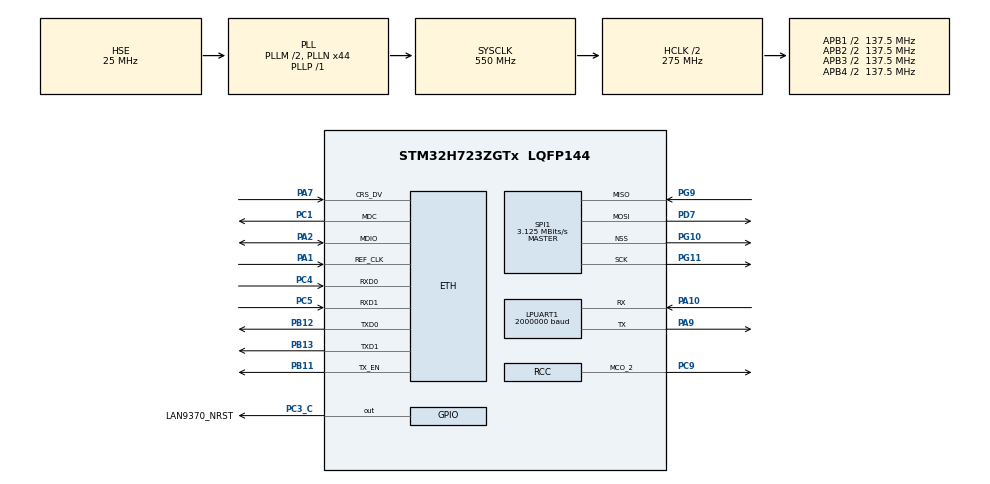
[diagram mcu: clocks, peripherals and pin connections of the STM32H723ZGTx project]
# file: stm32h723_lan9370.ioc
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Bdma.LPUART1_RX.0.Direction=DMA_PERIPH_TO_MEMORY
Bdma.LPUART1_RX.0.EventEnable=DISABLE
Bdma.LPUART1_RX.0.Instance=BDMA_Channel0
Bdma.LPUART1_RX.0.MemDataAlignment=DMA_MDATAALIGN_BYTE
Bdma.LPUART1_RX.0.MemInc=DMA_MINC_ENABLE
Bdma.LPUART1_RX.0.Mode=DMA_NORMAL
Bdma.LPUART1_RX.0.PeriphDataAlignment=DMA_PDATAALIGN_BYTE
Bdma.LPUART1_RX.0.PeriphInc=DMA_PINC_DISABLE
Bdma.LPUART1_RX.0.Polarity=HAL_DMAMUX_REQ_GEN_RISING
Bdma.LPUART1_RX.0.Priority=DMA_PRIORITY_LOW
Bdma.LPUART1_RX.0.RequestNumber=1
Bdma.LPUART1_RX.0.SignalID=NONE
Bdma.LPUART1_RX.0.SyncEnable=DISABLE
Bdma.LPUART1_RX.0.SyncPolarity=HAL_DMAMUX_SYNC_NO_EVENT
Bdma.LPUART1_RX.0.SyncRequestNumber=1
Bdma.LPUART1_RX.0.SyncSignalID=NONE
Bdma.LPUART1_TX.1.Direction=DMA_MEMORY_TO_PERIPH
Bdma.LPUART1_TX.1.EventEnable=DISABLE
Bdma.LPUART1_TX.1.Instance=BDMA_Channel1
Bdma.LPUART1_TX.1.MemDataAlignment=DMA_MDATAALIGN_BYTE
Bdma.LPUART1_TX.1.MemInc=DMA_MINC_ENABLE
Bdma.LPUART1_TX.1.Mode=DMA_NORMAL
Bdma.LPUART1_TX.1.PeriphDataAlignment=DMA_PDATAALIGN_BYTE
Bdma.LPUART1_TX.1.PeriphInc=DMA_PINC_DISABLE
Bdma.LPUART1_TX.1.Polarity=HAL_DMAMUX_REQ_GEN_RISING
Bdma.LPUART1_TX.1.Priority=DMA_PRIORITY_LOW
Bdma.LPUART1_TX.1.RequestNumber=1
Bdma.LPUART1_TX.1.SignalID=NONE
Bdma.LPUART1_TX.1.SyncEnable=DISABLE
Bdma.LPUART1_TX.1.SyncPolarity=HAL_DMAMUX_SYNC_NO_EVENT
Bdma.LPUART1_TX.1.SyncRequestNumber=1
Bdma.LPUART1_TX.1.SyncSignalID=NONE
Bdma.Request0=LPUART1_RX
Bdma.Request1=LPUART1_TX
Bdma.RequestsNb=2
CORTEX_M7.CPU_DCache=Enabled
CORTEX_M7.CPU_ICache=Enabled
CORTEX_M7.default_mode_Activation=1
Dma.Request0=SPI1_RX
Dma.Request1=SPI1_TX
Dma.SPI1_RX.0.Direction=DMA_PERIPH_TO_MEMORY
Dma.SPI1_RX.0.EventEnable=DISABLE
Dma.SPI1_RX.0.FIFOMode=DMA_FIFOMODE_DISABLE
Dma.SPI1_RX.0.Instance=DMA1_Stream0
Dma.SPI1_RX.0.MemDataAlignment=DMA_MDATAALIGN_BYTE
Dma.SPI1_RX.0.MemInc=DMA_MINC_ENABLE
Dma.SPI1_RX.0.Mode=DMA_NORMAL
Dma.SPI1_RX.0.PeriphDataAlignment=DMA_PDATAALIGN_BYTE
Dma.SPI1_RX.0.PeriphInc=DMA_PINC_DISABLE
Dma.SPI1_RX.0.Polarity=HAL_DMAMUX_REQ_GEN_RISING
Dma.SPI1_RX.0.Priority=DMA_PRIORITY_LOW
Dma.SPI1_RX.0.RequestNumber=1
Dma.SPI1_RX.0.SignalID=NONE
Dma.SPI1_RX.0.SyncEnable=DISABLE
Dma.SPI1_RX.0.SyncPolarity=HAL_DMAMUX_SYNC_NO_EVENT
Dma.SPI1_RX.0.SyncRequestNumber=1
Dma.SPI1_RX.0.SyncSignalID=NONE
Dma.SPI1_TX.1.Direction=DMA_MEMORY_TO_PERIPH
Dma.SPI1_TX.1.EventEnable=DISABLE
Dma.SPI1_TX.1.FIFOMode=DMA_FIFOMODE_DISABLE
Dma.SPI1_TX.1.Instance=DMA1_Stream1
Dma.SPI1_TX.1.MemDataAlignment=DMA_MDATAALIGN_BYTE
Dma.SPI1_TX.1.MemInc=DMA_MINC_ENABLE
Dma.SPI1_TX.1.Mode=DMA_NORMAL
Dma.SPI1_TX.1.PeriphDataAlignment=DMA_PDATAALIGN_BYTE
Dma.SPI1_TX.1.PeriphInc=DMA_PINC_DISABLE
Dma.SPI1_TX.1.Polarity=HAL_DMAMUX_REQ_GEN_RISING
Dma.SPI1_TX.1.Priority=DMA_PRIORITY_LOW
Dma.SPI1_TX.1.RequestNumber=1
Dma.SPI1_TX.1.SignalID=NONE
Dma.SPI1_TX.1.SyncEnable=DISABLE
Dma.SPI1_TX.1.SyncPolarity=HAL_DMAMUX_SYNC_NO_EVENT
Dma.SPI1_TX.1.SyncRequestNumber=1
Dma.SPI1_TX.1.SyncSignalID=NONE
ETH.MediaInterface=HAL_ETH_RMII_MODE
LPUART1.BaudRate=2000000
LPUART1.DMADisableonRxErrorParam=UART_ADVFEATURE_DMA_DISABLEONRXERROR
LPUART1.OverrunDisableParam=UART_ADVFEATURE_OVERRUN_DISABLE
LWIP.BSP.number=1
LWIP.GATEWAY_ADDRESS=192.168.000.001
LWIP.IP_ADDRESS=192.168.000.108
LWIP.LWIP_DHCP=0
LWIP.NETMASK_ADDRESS=255.255.255.000
LWIP.Version=v2.2.1_Cube
LWIP0.BSP.STBoard=false
LWIP0.BSP.api=BSP_COMPONENT_DRIVER
LWIP0.BSP.component=USER_PHY
LWIP0.BSP.instance=USER_PHY
LWIP0.BSP.name=Driver_PHY
LWIP0.BSP.semaphore=S_USER_PHY
LWIP0.BSP.solution=USER_PHY
Mcu.Family=STM32H7
Mcu.Name=STM32H723ZGTx
Mcu.Package=LQFP144
NVIC.BDMA_Channel0_IRQn=true\:0\:0\:false\:false\:true\:false\:true\:true
NVIC.BDMA_Channel1_IRQn=true\:0\:0\:false\:false\:true\:false\:true\:true
NVIC.DMA1_Stream0_IRQn=true\:0\:0\:false\:false\:true\:false\:true\:true
NVIC.DMA1_Stream1_IRQn=true\:0\:0\:false\:false\:true\:false\:true\:true
NVIC.ETH_IRQn=true\:0\:0\:false\:false\:true\:true\:true\:true
NVIC.LPUART1_IRQn=true\:0\:0\:false\:false\:true\:true\:true\:true
NVIC.PriorityGroup=NVIC_PRIORITYGROUP_4
NVIC.SPI1_IRQn=true\:0\:0\:false\:false\:true\:false\:true\:true
PA1.GPIO_Speed_Default_HIGH=GPIO_SPEED_FREQ_VERY_HIGH
PA1.Mode=RMII
PA1.Signal=ETH_REF_CLK
PA10.Mode=Asynchronous
PA10.Signal=LPUART1_RX
PA13(JTMS/SWDIO).Mode=Serial_Wire
PA13(JTMS/SWDIO).Signal=DEBUG_JTMS-SWDIO
PA14(JTCK/SWCLK).Mode=Serial_Wire
PA14(JTCK/SWCLK).Signal=DEBUG_JTCK-SWCLK
PA2.Mode=RMII
PA2.Signal=ETH_MDIO
PA7.Mode=RMII
PA7.Signal=ETH_CRS_DV
PA9.Mode=Asynchronous
PA9.Signal=LPUART1_TX
PB11.Mode=RMII
PB11.Signal=ETH_TX_EN
PB12.Mode=RMII
PB12.Signal=ETH_TXD0
PB13.Mode=RMII
PB13.Signal=ETH_TXD1
PC1.Mode=RMII
PC1.Signal=ETH_MDC
PC3_C.GPIO_Label=LAN9370_NRST
PC3_C.Signal=GPIO_Output
PC4.Mode=RMII
PC4.Signal=ETH_RXD0
PC5.Mode=RMII
PC5.Signal=ETH_RXD1
PC9.Mode=Clock-out-2
PC9.Signal=RCC_MCO_2
PD7.Mode=Full_Duplex_Master
PD7.Signal=SPI1_MOSI
PG10.Mode=NSS_Signal_Hard_Output
PG10.Signal=SPI1_NSS
PG11.Mode=Full_Duplex_Master
PG11.Signal=SPI1_SCK
PG9.Mode=Full_Duplex_Master
PG9.Signal=SPI1_MISO
PH0-OSC_IN.Mode=HSE-External-Oscillator
PH0-OSC_IN.Signal=RCC_OSC_IN
PH1-OSC_OUT.Mode=HSE-External-Oscillator
PH1-OSC_OUT.Signal=RCC_OSC_OUT
ProjectManager.HeapSize=0x800
ProjectManager.StackSize=0x1000
ProjectManager.TargetToolchain=CMake
RCC.ADCFreq_Value=50000000
RCC.APB1Freq_Value=137500000
RCC.APB2Freq_Value=137500000
RCC.APB3Freq_Value=137500000
RCC.APB4Freq_Value=137500000
RCC.CortexFreq_Value=550000000
RCC.D1PPRE=RCC_APB3_DIV2
RCC.D2PPRE1=RCC_APB1_DIV2
RCC.D2PPRE2=RCC_APB2_DIV2
RCC.D3PPRE=RCC_APB4_DIV2
RCC.DIVM1=2
RCC.DIVM2=5
RCC.DIVN1=44
RCC.DIVN2=40
RCC.DIVP1=1
RCC.DIVP2=4
RCC.HCLKFreq_Value=275000000
RCC.HPRE=RCC_HCLK_DIV2
RCC.PLL2FRACN=0
RCC.PLLFRACN=0
RCC.PLLSourceVirtual=RCC_PLLSOURCE_HSE
RCC.RCC_MCO2Source=RCC_MCO2SOURCE_PLL2PCLK
RCC.SPI123CLockSelection=RCC_SPI123CLKSOURCE_PLL2
RCC.SYSCLKFreq_VALUE=550000000
RCC.SYSCLKSource=RCC_SYSCLKSOURCE_PLLCLK
RCC.USBFreq_Value=275000000
SPI1.BaudRatePrescaler=SPI_BAUDRATEPRESCALER_16
SPI1.CalculateBaudRate=3.125 MBits/s
SPI1.DataSize=SPI_DATASIZE_8BIT
SPI1.Direction=SPI_DIRECTION_2LINES
SPI1.Mode=SPI_MODE_MASTER
SPI1.VirtualNSS=VM_NSSHARD
SPI1.VirtualType=VM_MASTER
VP_LWIP_VS_Enabled.Mode=Enabled
VP_MEMORYMAP_VS_MEMORYMAP.Mode=CurAppReg
board=custom

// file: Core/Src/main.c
/* USER CODE BEGIN Header */
/**
  ******************************************************************************
  * @file           : main.c
  * @brief          : Main program body
  ******************************************************************************
  * @attention
  *
  * Copyright (c) 2026 STMicroelectronics.
  * All rights reserved.
  *
  * This software is licensed under terms that can be found in the LICENSE file
  * in the root directory of this software component.
  * If no LICENSE file comes with this software, it is provided AS-IS.
  *
  ******************************************************************************
  */
/* USER CODE END Header */
#include "main.h"
#include "lwip.h"

/* USER CODE BEGIN Includes */
#include "lan9370_driver.h"
#include "lwip/apps/lwiperf.h"
#include "lwip/ip4_addr.h"
#include "lwip/ip_addr.h"
#include "lwip/udp.h"
#include "lwip/etharp.h"
#include "shell_port.h"
#include <stdarg.h>
#include <stdio.h>
/* USER CODE END Includes */

/* USER CODE BEGIN PD */
#define APP_UDP_ECHO_PORT   7U
#define APP_IPERF_PORT      5001U
/* USER CODE END PD */

UART_HandleTypeDef hlpuart1;
DMA_HandleTypeDef hdma_lpuart1_rx;
DMA_HandleTypeDef hdma_lpuart1_tx;

SPI_HandleTypeDef hspi1;
DMA_HandleTypeDef hdma_spi1_rx;
DMA_HandleTypeDef hdma_spi1_tx;

/* USER CODE BEGIN PV */
static struct udp_pcb *udp_echo_pcb;
static void *lwiperf_session;
extern struct netif gnetif;
extern ETH_DMADescTypeDef DMATxDscrTab[];
extern ETH_DMADescTypeDef DMARxDscrTab[];
extern ETH_HandleTypeDef heth;
/* USER CODE END PV */

void SystemClock_Config(void);
void PeriphCommonClock_Config(void);
static void MPU_Config(void);
static void MX_GPIO_Init(void);
static void MX_BDMA_Init(void);
static void MX_DMA_Init(void);
static void MX_LPUART1_UART_Init(void);
static void MX_SPI1_Init(void);
/* USER CODE BEGIN PFP */
// static void CPU_CACHE_Enable(void);
int debug_printf(const char *format, ...);
static void App_NetworkServicesInit(void);
static void App_PrintNetworkBanner(void);
static void App_UdpEchoInit(void);
static void App_UdpEchoRecv(void *arg, struct udp_pcb *pcb, struct pbuf *p,
                            const ip_addr_t *addr, u16_t port);
static void App_LwiperfReport(void *arg, enum lwiperf_report_type report_type,
                              const ip_addr_t *local_addr, u16_t local_port,
                              const ip_addr_t *remote_addr, u16_t remote_port,
                              u32_t bytes_transferred, u32_t ms_duration,
                              u32_t bandwidth_kbitpsec);
static void App_LwiperfInit(void);
/* USER CODE END PFP */

int main(void)
{

  /* USER CODE BEGIN 1 */
  /* Save reset cause before HAL_Init potentially modifies RCC flags */
  volatile uint32_t g_rcc_rsr = RCC->RSR;
  /* USER CODE END 1 */

  /* MPU Configuration--------------------------------------------------------*/
  MPU_Config();

  /* Enable the CPU Cache */

  /* Enable I-Cache---------------------------------------------------------*/
  SCB_EnableICache();

  /* Enable D-Cache---------------------------------------------------------*/
  SCB_EnableDCache();

  /* MCU Configuration--------------------------------------------------------*/

  /* Reset of all peripherals, Initializes the Flash interface and the Systick. */
  HAL_Init();

  /* Configure the system clock */
  SystemClock_Config();

  /* Configure the peripherals common clocks */
  PeriphCommonClock_Config();

  /* Initialize all configured peripherals */
  MX_GPIO_Init();
  MX_BDMA_Init();
  MX_DMA_Init();
  MX_LPUART1_UART_Init();
  /* MX_LWIP_Init() is called after LAN9370 is configured in USER CODE 2 */
  MX_SPI1_Init();
  /* USER CODE BEGIN 2 */
  /* Print reset cause from saved RCC->RSR */
  debug_printf("\r\nstm32h723_lan9370 boot\r\n");
  {
    if (g_rcc_rsr & RCC_RSR_BORRSTF)   debug_printf("[RST] BOR\r\n");
    if (g_rcc_rsr & RCC_RSR_PINRSTF)   debug_printf("[RST] PIN\r\n");
    if (g_rcc_rsr & RCC_RSR_PORRSTF)   debug_printf("[RST] POR\r\n");
    if (g_rcc_rsr & RCC_RSR_SFTRSTF)   debug_printf("[RST] Software\r\n");
    if (g_rcc_rsr & RCC_RSR_IWDG1RSTF) debug_printf("[RST] IWDG\r\n");
    if (g_rcc_rsr & RCC_RSR_WWDG1RSTF) debug_printf("[RST] WWDG\r\n");
    if (g_rcc_rsr & RCC_RSR_LPWRRSTF)  debug_printf("[RST] LPower\r\n");
    __HAL_RCC_CLEAR_RESET_FLAGS();
  }

  /* Initialize LAN9370 via SPI before lwIP starts */
  debug_printf("[MAIN] LAN9370 init...\r\n");
  if (LAN9370_Init(&hspi1) != LAN9370_OK)
  {
    debug_printf("[MAIN] LAN9370 init FAILED\r\n");
    Error_Handler();
  }

  LAN9370_ChipInfo_t chipInfo;
  if (LAN9370_GetChipInfo(&chipInfo) == LAN9370_OK)
  {
    debug_printf("[MAIN] Chip: %s ID=0x%08lX Rev=%d\r\n",
                 chipInfo.chipName, (unsigned long)chipInfo.chipId, (int)chipInfo.revisionId);
  }
  /* Debug: read individual ID bytes */
  {
    uint8_t b0=0, b1=0, b2=0, b3=0;
    LAN9370_SPI_ReadReg8(0x0000, &b0);
    LAN9370_SPI_ReadReg8(0x0001, &b1);
    LAN9370_SPI_ReadReg8(0x0002, &b2);
    LAN9370_SPI_ReadReg8(0x0003, &b3);
    debug_printf("[SPI] ID bytes: %02X %02X %02X %02X (expect 00 93 70 0x)\r\n", b0, b1, b2, b3);
  }

  /* Port 2 = Master (connects to automotive slave device 192.168.0.68) */
  /* Port 4 = Slave  (connects to PC via automotive converter)          */
  LAN9370_SetT1MasterSlave(LAN9370_PORT_1, LAN9370_T1_SLAVE);
  if (LAN9370_SetT1MasterSlave(LAN9370_PORT_2, LAN9370_T1_MASTER) != LAN9370_OK) {
    debug_printf("[MAIN] Port2 set master FAILED\r\n");
  }
  LAN9370_SetT1MasterSlave(LAN9370_PORT_3, LAN9370_T1_SLAVE);
  LAN9370_SetT1MasterSlave(LAN9370_PORT_4, LAN9370_T1_SLAVE);

  /* Enable all ports */
  for (int p = 1; p <= LAN9370_PORT_COUNT; p++)
  {
    LAN9370_SetPortEnable((LAN9370_Port_t)p, true);
  }

  /* Configure Port 5 as RMII for STM32H723 ETH MAC */
  LAN9370_ConfigurePort5Rmii();
  /* Re-enable Port 5 after RMII config (register layout change may reset MSTP) */
  LAN9370_SetPortEnable(LAN9370_PORT_5, true);

  /* All ports forward to all (flat switching, no VLAN isolation) */
  for (int p = 1; p <= LAN9370_PORT_COUNT; p++)
  {
    LAN9370_SetPortMembership((LAN9370_Port_t)p, 0x1FU);
  }
  LAN9370_SetMACLearning(true);

  /* Allow PHY master/slave config to settle before reading status */
  HAL_Delay(50);

  /* Initialize lwIP / ETH MAC (LAN9370 must be configured before ETH starts) */
  /* Pre-select RMII mode and enable ETH clocks early, then wait for
   * RMII REF_CLK (PA1 from MCO2/PC9) to fully stabilize.
   * The H7 HAL's SYSCFG_ETHInterfaceSelect only sets EPIS_SEL but does NOT
   * close the PA1 analog switch. Without explicitly clearing PA1SO, the
   * internal REF_CLK path from PA1 pin to the ETH MAC is disconnected even
   * though the pin mux selects AF11_ETH. */
  __HAL_RCC_SYSCFG_CLK_ENABLE();
  HAL_SYSCFG_ETHInterfaceSelect(SYSCFG_ETH_RMII);
  CLEAR_BIT(SYSCFG->PMCR, SYSCFG_PMCR_PA1SO);   /* close PA1 switch → REF_CLK reaches ETH */
  __HAL_RCC_ETH1MAC_CLK_ENABLE();
  __HAL_RCC_ETH1TX_CLK_ENABLE();
  __HAL_RCC_ETH1RX_CLK_ENABLE();
  HAL_Delay(200);

  /* LAN9370 Port5 RMII configured (verify in ConfigurePort5Rmii itself) */

  /* Initialize lwIP / ETH MAC (LAN9370 must be configured before ETH starts) */
  MX_LWIP_Init();
  debug_printf("[MAIN] lwIP init done\r\n");

  /* Re-verify Port2 master mode after lwIP/ETH init */
  {
    uint16_t ms_ctrl = 0;
    LAN9370_PHY_ReadReg(LAN9370_PORT_2, 0x09, &ms_ctrl);
    debug_printf("[MAIN] Port2 MS_CTRL(0x09)=0x%04X (expect 0x1800=master)\r\n", ms_ctrl);
    /* Re-apply if lost */
    if ((ms_ctrl & 0x1800U) != 0x1800U) {
      debug_printf("[MAIN] Port2 master config lost, re-applying...\r\n");
      LAN9370_SetT1MasterSlave(LAN9370_PORT_2, LAN9370_T1_MASTER);
    }
  }

  App_NetworkServicesInit();
  App_PrintNetworkBanner();

  /* Initialize shell */
  Shell_Init(&hlpuart1);
  Shell_PrintBanner();

  /* Send gratuitous ARP to announce our MAC/IP to the network */
  HAL_Delay(200);
  etharp_gratuitous(&gnetif);

  /* Configure ETH MAC filter to accept broadcast + unicast packets.
   * Default after HAL_ETH_Init is MACPFR=0 (all packets rejected). */
  {
    ETH_MACFilterConfigTypeDef filterConfig;
    HAL_ETH_GetMACFilterConfig(&heth, &filterConfig);
    filterConfig.PromiscuousMode = ENABLE;
    filterConfig.ReceiveAllMode = ENABLE;
    filterConfig.PassAllMulticast = ENABLE;
    filterConfig.BroadcastFilter = DISABLE;
    HAL_ETH_SetMACFilterConfig(&heth, &filterConfig);
  }

  /* Clear any sticky DMA error bits from init */
  ETH->DMACSR = ETH_DMACSR_FBE | ETH_DMACSR_TPS | ETH_DMACSR_RPS;

  /* --- Quick diag verification: read T1 PHY regs on Port2 --- */
  {
    uint16_t sqi=0, mse=0, ms_stat=0;
    LAN9370_PHY_ReadReg(LAN9370_PORT_2, T1_PHY_SQI, &sqi);
    LAN9370_PHY_ReadReg(LAN9370_PORT_2, T1_PHY_MSE, &mse);
    LAN9370_PHY_ReadReg(LAN9370_PORT_2, T1_PHY_MASTER_SLAVE_STATUS, &ms_stat);
    debug_printf("[DIAG] Port2 SQI=0x%04X MSE=0x%04X MS_STAT=0x%04X\r\n", sqi, mse, ms_stat);
    uint16_t temp_raw=0;
    LAN9370_SPI_ReadReg16(REG_TEMP_MON, &temp_raw);
    debug_printf("[DIAG] TEMP_MON(0x%04X)=0x%04X\r\n", REG_TEMP_MON, temp_raw);
  }
  /* USER CODE END 2 */

  /* Infinite loop */
  while (1)
  {

    /* USER CODE BEGIN 3 */
    Shell_Process();
    MX_LWIP_Process();
  }
  /* USER CODE END 3 */
}

void SystemClock_Config(void)
{
  RCC_OscInitTypeDef RCC_OscInitStruct = {0};
  RCC_ClkInitTypeDef RCC_ClkInitStruct = {0};

  /** Supply configuration update enable
  */
  HAL_PWREx_ConfigSupply(PWR_LDO_SUPPLY);

  /** Configure the main internal regulator output voltage
  */
  __HAL_PWR_VOLTAGESCALING_CONFIG(PWR_REGULATOR_VOLTAGE_SCALE0);

  while(!__HAL_PWR_GET_FLAG(PWR_FLAG_VOSRDY)) {}

  /* Enable D2 SRAM1 clock — ETH DMA descriptors and RX pool at 0x30000000 */
  __HAL_RCC_D2SRAM1_CLK_ENABLE();

  /** Initializes the RCC Oscillators according to the specified parameters
  * in the RCC_OscInitTypeDef structure.
  */
  RCC_OscInitStruct.OscillatorType = RCC_OSCILLATORTYPE_HSE;
  RCC_OscInitStruct.HSEState = RCC_HSE_ON;
  RCC_OscInitStruct.PLL.PLLState = RCC_PLL_ON;
  RCC_OscInitStruct.PLL.PLLSource = RCC_PLLSOURCE_HSE;
  RCC_OscInitStruct.PLL.PLLM = 2;
  RCC_OscInitStruct.PLL.PLLN = 44;
  RCC_OscInitStruct.PLL.PLLP = 1;
  RCC_OscInitStruct.PLL.PLLQ = 2;
  RCC_OscInitStruct.PLL.PLLR = 2;
  RCC_OscInitStruct.PLL.PLLRGE = RCC_PLL1VCIRANGE_3;
  RCC_OscInitStruct.PLL.PLLVCOSEL = RCC_PLL1VCOWIDE;
  RCC_OscInitStruct.PLL.PLLFRACN = 0;
  if (HAL_RCC_OscConfig(&RCC_OscInitStruct) != HAL_OK)
  {
    Error_Handler();
  }

  /** Initializes the CPU, AHB and APB buses clocks
  */
  RCC_ClkInitStruct.ClockType = RCC_CLOCKTYPE_HCLK|RCC_CLOCKTYPE_SYSCLK
                              |RCC_CLOCKTYPE_PCLK1|RCC_CLOCKTYPE_PCLK2
                              |RCC_CLOCKTYPE_D3PCLK1|RCC_CLOCKTYPE_D1PCLK1;
  RCC_ClkInitStruct.SYSCLKSource = RCC_SYSCLKSOURCE_PLLCLK;
  RCC_ClkInitStruct.SYSCLKDivider = RCC_SYSCLK_DIV1;
  RCC_ClkInitStruct.AHBCLKDivider = RCC_HCLK_DIV2;
  RCC_ClkInitStruct.APB3CLKDivider = RCC_APB3_DIV2;
  RCC_ClkInitStruct.APB1CLKDivider = RCC_APB1_DIV2;
  RCC_ClkInitStruct.APB2CLKDivider = RCC_APB2_DIV2;
  RCC_ClkInitStruct.APB4CLKDivider = RCC_APB4_DIV2;

  if (HAL_RCC_ClockConfig(&RCC_ClkInitStruct, FLASH_LATENCY_3) != HAL_OK)
  {
    Error_Handler();
  }
  __HAL_RCC_PLL2CLKOUT_ENABLE(RCC_PLL2_DIVP);
  HAL_RCC_MCOConfig(RCC_MCO2, RCC_MCO2SOURCE_PLL2PCLK, RCC_MCODIV_1);
}

void PeriphCommonClock_Config(void)
{
  RCC_PeriphCLKInitTypeDef PeriphClkInitStruct = {0};

  /** Initializes the peripherals clock
  */
  PeriphClkInitStruct.PeriphClockSelection = RCC_PERIPHCLK_SPI1;
  PeriphClkInitStruct.PLL2.PLL2M = 5;
  PeriphClkInitStruct.PLL2.PLL2N = 40;
  PeriphClkInitStruct.PLL2.PLL2P = 4;
  PeriphClkInitStruct.PLL2.PLL2Q = 2;
  PeriphClkInitStruct.PLL2.PLL2R = 2;
  PeriphClkInitStruct.PLL2.PLL2RGE = RCC_PLL2VCIRANGE_3;
  PeriphClkInitStruct.PLL2.PLL2VCOSEL = RCC_PLL2VCOWIDE;
  PeriphClkInitStruct.PLL2.PLL2FRACN = 0;
  PeriphClkInitStruct.Spi123ClockSelection = RCC_SPI123CLKSOURCE_PLL2;
  if (HAL_RCCEx_PeriphCLKConfig(&PeriphClkInitStruct) != HAL_OK)
  {
    Error_Handler();
  }
}

static void MX_LPUART1_UART_Init(void)
{

  hlpuart1.Instance = LPUART1;
  hlpuart1.Init.BaudRate = 2000000;
  hlpuart1.Init.WordLength = UART_WORDLENGTH_8B;
  hlpuart1.Init.StopBits = UART_STOPBITS_1;
  hlpuart1.Init.Parity = UART_PARITY_NONE;
  hlpuart1.Init.Mode = UART_MODE_TX_RX;
  hlpuart1.Init.HwFlowCtl = UART_HWCONTROL_NONE;
  hlpuart1.Init.OneBitSampling = UART_ONE_BIT_SAMPLE_DISABLE;
  hlpuart1.Init.ClockPrescaler = UART_PRESCALER_DIV1;
  hlpuart1.AdvancedInit.AdvFeatureInit = UART_ADVFEATURE_RXOVERRUNDISABLE_INIT|UART_ADVFEATURE_DMADISABLEONERROR_INIT;
  hlpuart1.AdvancedInit.OverrunDisable = UART_ADVFEATURE_OVERRUN_DISABLE;
  hlpuart1.AdvancedInit.DMADisableonRxError = UART_ADVFEATURE_DMA_DISABLEONRXERROR;
  hlpuart1.FifoMode = UART_FIFOMODE_DISABLE;
  if (HAL_UART_Init(&hlpuart1) != HAL_OK)
  {
    Error_Handler();
  }
  if (HAL_UARTEx_SetTxFifoThreshold(&hlpuart1, UART_TXFIFO_THRESHOLD_1_8) != HAL_OK)
  {
    Error_Handler();
  }
  if (HAL_UARTEx_SetRxFifoThreshold(&hlpuart1, UART_RXFIFO_THRESHOLD_1_8) != HAL_OK)
  {
    Error_Handler();
  }
  if (HAL_UARTEx_DisableFifoMode(&hlpuart1) != HAL_OK)
  {
    Error_Handler();
  }

}

static void MX_SPI1_Init(void)
{

  /* SPI1 parameter configuration*/
  hspi1.Instance = SPI1;
  hspi1.Init.Mode = SPI_MODE_MASTER;
  hspi1.Init.Direction = SPI_DIRECTION_2LINES;
  hspi1.Init.DataSize = SPI_DATASIZE_8BIT;
  hspi1.Init.CLKPolarity = SPI_POLARITY_HIGH;
  hspi1.Init.CLKPhase = SPI_PHASE_2EDGE;
  hspi1.Init.NSS = SPI_NSS_SOFT;
  hspi1.Init.BaudRatePrescaler = SPI_BAUDRATEPRESCALER_2;
  hspi1.Init.FirstBit = SPI_FIRSTBIT_MSB;
  hspi1.Init.TIMode = SPI_TIMODE_DISABLE;
  hspi1.Init.CRCCalculation = SPI_CRCCALCULATION_DISABLE;
  hspi1.Init.CRCPolynomial = 0x0;
  hspi1.Init.NSSPMode = SPI_NSS_PULSE_DISABLE;
  hspi1.Init.NSSPolarity = SPI_NSS_POLARITY_LOW;
  hspi1.Init.FifoThreshold = SPI_FIFO_THRESHOLD_01DATA;
  hspi1.Init.TxCRCInitializationPattern = SPI_CRC_INITIALIZATION_ALL_ZERO_PATTERN;
  hspi1.Init.RxCRCInitializationPattern = SPI_CRC_INITIALIZATION_ALL_ZERO_PATTERN;
  hspi1.Init.MasterSSIdleness = SPI_MASTER_SS_IDLENESS_00CYCLE;
  hspi1.Init.MasterInterDataIdleness = SPI_MASTER_INTERDATA_IDLENESS_00CYCLE;
  hspi1.Init.MasterReceiverAutoSusp = SPI_MASTER_RX_AUTOSUSP_DISABLE;
  hspi1.Init.MasterKeepIOState = SPI_MASTER_KEEP_IO_STATE_DISABLE;
  hspi1.Init.IOSwap = SPI_IO_SWAP_DISABLE;
  if (HAL_SPI_Init(&hspi1) != HAL_OK)
  {
    Error_Handler();
  }

}

static void MX_BDMA_Init(void)
{

  /* DMA controller clock enable */
  __HAL_RCC_BDMA_CLK_ENABLE();

  /* DMA interrupt init */
  /* BDMA_Channel0_IRQn interrupt configuration */
  HAL_NVIC_SetPriority(BDMA_Channel0_IRQn, 0, 0);
  HAL_NVIC_EnableIRQ(BDMA_Channel0_IRQn);
  /* BDMA_Channel1_IRQn interrupt configuration */
  HAL_NVIC_SetPriority(BDMA_Channel1_IRQn, 0, 0);
  HAL_NVIC_EnableIRQ(BDMA_Channel1_IRQn);

}

static void MX_DMA_Init(void)
{

  /* DMA controller clock enable */
  __HAL_RCC_DMA1_CLK_ENABLE();

  /* DMA interrupt init */
  /* DMA1_Stream0_IRQn interrupt configuration */
  HAL_NVIC_SetPriority(DMA1_Stream0_IRQn, 0, 0);
  HAL_NVIC_EnableIRQ(DMA1_Stream0_IRQn);
  /* DMA1_Stream1_IRQn interrupt configuration */
  HAL_NVIC_SetPriority(DMA1_Stream1_IRQn, 0, 0);
  HAL_NVIC_EnableIRQ(DMA1_Stream1_IRQn);

}

static void MX_GPIO_Init(void)
{
  GPIO_InitTypeDef GPIO_InitStruct = {0};

  /* GPIO Ports Clock Enable */
  __HAL_RCC_GPIOH_CLK_ENABLE();
  __HAL_RCC_GPIOC_CLK_ENABLE();
  __HAL_RCC_GPIOA_CLK_ENABLE();
  __HAL_RCC_GPIOB_CLK_ENABLE();
  __HAL_RCC_GPIOD_CLK_ENABLE();
  __HAL_RCC_GPIOG_CLK_ENABLE();

  /*Configure GPIO pin Output Level */
  HAL_GPIO_WritePin(LAN9370_NRST_GPIO_Port, LAN9370_NRST_Pin, GPIO_PIN_SET);

  /*Configure GPIO pin : LAN9370_NRST_Pin */
  GPIO_InitStruct.Pin = LAN9370_NRST_Pin;
  GPIO_InitStruct.Mode = GPIO_MODE_OUTPUT_PP;
  GPIO_InitStruct.Pull = GPIO_NOPULL;
  GPIO_InitStruct.Speed = GPIO_SPEED_FREQ_LOW;
  HAL_GPIO_Init(LAN9370_NRST_GPIO_Port, &GPIO_InitStruct);

  /*Configure GPIO pin : PC9 */
  GPIO_InitStruct.Pin = GPIO_PIN_9;
  GPIO_InitStruct.Mode = GPIO_MODE_AF_PP;
  GPIO_InitStruct.Pull = GPIO_NOPULL;
  GPIO_InitStruct.Speed = GPIO_SPEED_FREQ_VERY_HIGH;
  GPIO_InitStruct.Alternate = GPIO_AF0_MCO;
  HAL_GPIO_Init(GPIOC, &GPIO_InitStruct);

  /*AnalogSwitch Config - OPEN PC3 to avoid interference with LAN9370 nRST */
  HAL_SYSCFG_AnalogSwitchConfig(SYSCFG_SWITCH_PC3, SYSCFG_SWITCH_PC3_OPEN);

}

/* USER CODE BEGIN 4 */
int debug_printf(const char *format, ...)
{
  char buffer[256];
  int length;
  va_list args;

  va_start(args, format);
  length = vsnprintf(buffer, sizeof(buffer), format, args);
  va_end(args);

  if (length <= 0) return length;
  if (length >= (int)sizeof(buffer)) length = (int)sizeof(buffer) - 1;
  HAL_UART_Transmit(&hlpuart1, (uint8_t *)buffer, (uint16_t)length, HAL_MAX_DELAY);
  return length;
}

static void App_NetworkServicesInit(void)
{
  App_UdpEchoInit();
  App_LwiperfInit();
}

static void App_PrintNetworkBanner(void)
{
  const ip4_addr_t *ip   = netif_ip4_addr(&gnetif);
  const ip4_addr_t *mask = netif_ip4_netmask(&gnetif);
  const ip4_addr_t *gw   = netif_ip4_gw(&gnetif);

  debug_printf("Network ready IP=%u.%u.%u.%u Mask=%u.%u.%u.%u GW=%u.%u.%u.%u\r\n",
               ip4_addr1_16(ip), ip4_addr2_16(ip), ip4_addr3_16(ip), ip4_addr4_16(ip),
               ip4_addr1_16(mask), ip4_addr2_16(mask), ip4_addr3_16(mask), ip4_addr4_16(mask),
               ip4_addr1_16(gw), ip4_addr2_16(gw), ip4_addr3_16(gw), ip4_addr4_16(gw));
  debug_printf("UDP echo on port %u, TCP iperf on port %u\r\n",
               (unsigned)APP_UDP_ECHO_PORT, (unsigned)APP_IPERF_PORT);
}

static void App_UdpEchoRecv(void *arg, struct udp_pcb *pcb, struct pbuf *p,
                            const ip_addr_t *addr, u16_t port)
{
  (void)arg;
  if (p != NULL)
  {
    udp_sendto(pcb, p, addr, port);
    pbuf_free(p);
  }
}

static void App_UdpEchoInit(void)
{
  udp_echo_pcb = udp_new();
  if (udp_echo_pcb == NULL) { debug_printf("udp_new failed\r\n"); return; }
  if (udp_bind(udp_echo_pcb, IP_ADDR_ANY, APP_UDP_ECHO_PORT) != ERR_OK)
  {
    debug_printf("udp_bind failed\r\n");
    udp_remove(udp_echo_pcb); udp_echo_pcb = NULL; return;
  }
  udp_recv(udp_echo_pcb, App_UdpEchoRecv, NULL);
}

static void App_LwiperfReport(void *arg, enum lwiperf_report_type report_type,
                              const ip_addr_t *local_addr, u16_t local_port,
                              const ip_addr_t *remote_addr, u16_t remote_port,
                              u32_t bytes_transferred, u32_t ms_duration,
                              u32_t bandwidth_kbitpsec)
{
  char local_s[IPADDR_STRLEN_MAX], remote_s[IPADDR_STRLEN_MAX];
  (void)arg; (void)report_type;
  ipaddr_ntoa_r(local_addr,  local_s,  sizeof(local_s));
  ipaddr_ntoa_r(remote_addr, remote_s, sizeof(remote_s));
  debug_printf("iperf %s:%u <- %s:%u  %lu bytes  %lu ms  %lu kbps\r\n",
               local_s, (unsigned)local_port,
               remote_s, (unsigned)remote_port,
               (unsigned long)bytes_transferred,
               (unsigned long)ms_duration,
               (unsigned long)bandwidth_kbitpsec);
}

static void App_LwiperfInit(void)
{
  lwiperf_session = lwiperf_start_tcp_server_default(App_LwiperfReport, NULL);
  if (lwiperf_session == NULL)
  {
    debug_printf("lwiperf_start_tcp_server_default failed\r\n");
  }
}
/* USER CODE END 4 */

 /* MPU Configuration */

void MPU_Config(void)
{
  MPU_Region_InitTypeDef MPU_InitStruct = {0};

  /* Disables the MPU */
  HAL_MPU_Disable();

  /* Region 0: entire address space, no access (background protection) */
  MPU_InitStruct.Enable = MPU_REGION_ENABLE;
  MPU_InitStruct.Number = MPU_REGION_NUMBER0;
  MPU_InitStruct.BaseAddress = 0x0;
  MPU_InitStruct.Size = MPU_REGION_SIZE_4GB;
  MPU_InitStruct.SubRegionDisable = 0x87;
  MPU_InitStruct.TypeExtField = MPU_TEX_LEVEL0;
  MPU_InitStruct.AccessPermission = MPU_REGION_NO_ACCESS;
  MPU_InitStruct.DisableExec = MPU_INSTRUCTION_ACCESS_DISABLE;
  MPU_InitStruct.IsShareable = MPU_ACCESS_SHAREABLE;
  MPU_InitStruct.IsCacheable = MPU_ACCESS_NOT_CACHEABLE;
  MPU_InitStruct.IsBufferable = MPU_ACCESS_NOT_BUFFERABLE;

  HAL_MPU_ConfigRegion(&MPU_InitStruct);

  /* Region 1: D2 SRAM1 (0x30000000, 32KB) – non-cacheable for ETH DMA */
  MPU_InitStruct.Enable = MPU_REGION_ENABLE;
  MPU_InitStruct.Number = MPU_REGION_NUMBER1;
  MPU_InitStruct.BaseAddress = 0x30000000;
  MPU_InitStruct.Size = MPU_REGION_SIZE_32KB;
  MPU_InitStruct.SubRegionDisable = 0x00;
  MPU_InitStruct.TypeExtField = MPU_TEX_LEVEL1;
  MPU_InitStruct.AccessPermission = MPU_REGION_FULL_ACCESS;
  MPU_InitStruct.DisableExec = MPU_INSTRUCTION_ACCESS_ENABLE;
  MPU_InitStruct.IsShareable = MPU_ACCESS_SHAREABLE;
  MPU_InitStruct.IsCacheable = MPU_ACCESS_NOT_CACHEABLE;
  MPU_InitStruct.IsBufferable = MPU_ACCESS_NOT_BUFFERABLE;

  HAL_MPU_ConfigRegion(&MPU_InitStruct);
  /* Enables the MPU */
  HAL_MPU_Enable(MPU_PRIVILEGED_DEFAULT);

}

void Error_Handler(void)
{
  /* USER CODE BEGIN Error_Handler_Debug */
  debug_printf("Error_Handler\r\n");
  __disable_irq();
  while (1)
  {
  }
  /* USER CODE END Error_Handler_Debug */
}
